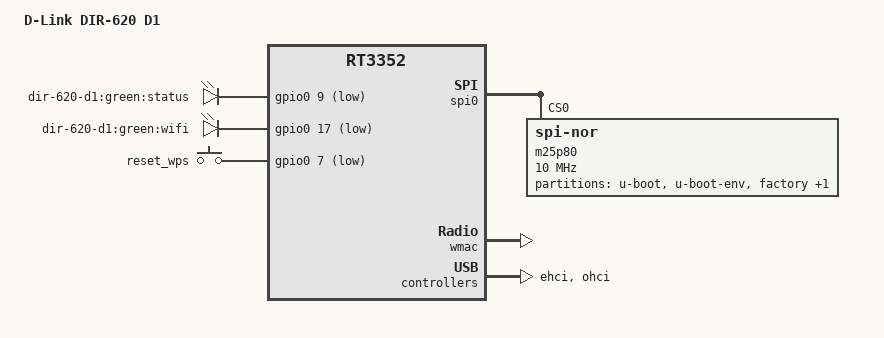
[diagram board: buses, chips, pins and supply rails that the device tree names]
/dts-v1/;

#include "rt3352.dtsi"

#include <dt-bindings/gpio/gpio.h>
#include <dt-bindings/input/input.h>

/ {
	compatible = "dlink,dir-620-d1", "ralink,rt3352-soc";
	model = "D-Link DIR-620 D1";

	gpio-leds {
		compatible = "gpio-leds";

		status {
			label = "dir-620-d1:green:status";
			gpios = <&gpio0 9 GPIO_ACTIVE_LOW>;
		};

		wifi {
			label = "dir-620-d1:green:wifi";
			gpios = <&gpio0 17 GPIO_ACTIVE_LOW>;
		};
	};

	gpio-keys-polled {
		compatible = "gpio-keys-polled";
		#address-cells = <1>;
		#size-cells = <0>;
		poll-interval = <20>;

		reset_wps {
			label = "reset_wps";
			gpios = <&gpio0 7 GPIO_ACTIVE_LOW>;
			linux,code = <KEY_RESTART>;
		};
	};
};

&spi0 {
	status = "okay";

	m25p80@0 {
		#address-cells = <1>;
		#size-cells = <1>;
		compatible = "jedec,spi-nor";
		reg = <0>;
		spi-max-frequency = <10000000>;

		partition@0 {
			label = "u-boot";
			reg = <0x0 0x30000>;
			read-only;
		};

		partition@30000 {
			label = "u-boot-env";
			reg = <0x30000 0x10000>;
			read-only;
		};

		factory: partition@40000 {
			label = "factory";
			reg = <0x40000 0x10000>;
			read-only;
		};

		partition@50000 {
			label = "firmware";
			reg = <0x50000 0x7b0000>;
		};
	};
};

&pinctrl {
	state_default: pinctrl0 {
		gpio {
			ralink,group = "i2c", "jtag", "uartf";
			ralink,function = "gpio";
		};
	};
};

&ethernet {
	mtd-mac-address = <&factory 0x4>;
	pinctrl-names = "default";
	pinctrl-0 = <&rgmii_pins &mdio_pins>;
};

&esw {
	mediatek,portmap = <0x2f>;
};

&wmac {
	ralink,mtd-eeprom = <&factory 0>;
};

&ehci {
	status = "okay";
};

&ohci {
	status = "okay";
};
